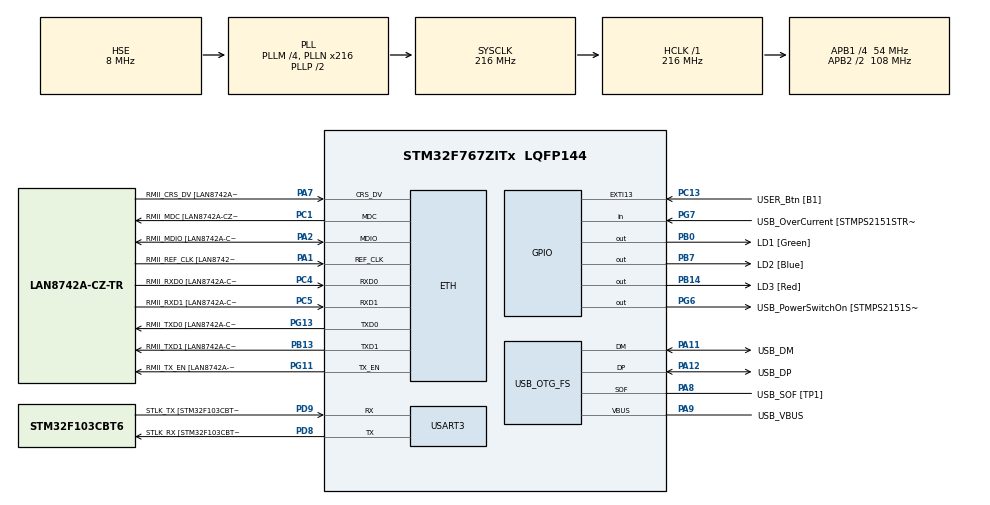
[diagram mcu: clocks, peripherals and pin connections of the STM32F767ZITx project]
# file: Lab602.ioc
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ETH.MediaInterface=HAL_ETH_RMII_MODE
ETH.PHY_Name=LAN8742A_PHY_ADDRESS
ETH.PHY_Value=0
ETH.PhyAddress=0
Mcu.Family=STM32F7
Mcu.Name=STM32F767ZITx
Mcu.Package=LQFP144
NVIC.PriorityGroup=NVIC_PRIORITYGROUP_4
NVIC.TIM1_UP_TIM10_IRQn=true\:1\:0\:true\:false\:true\:true\:true\:true
NVIC.TIM2_IRQn=true\:2\:0\:true\:false\:true\:true\:true\:true
PA1.GPIO_Label=RMII_REF_CLK [LAN8742A-CZ-TR_REFCLK0]
PA1.Mode=RMII
PA1.Signal=ETH_REF_CLK
PA10.GPIO_Label=USB_ID
PA10.Signal=USB_OTG_FS_ID
PA11.GPIO_Label=USB_DM
PA11.Mode=Device_Only
PA11.Signal=USB_OTG_FS_DM
PA12.GPIO_Label=USB_DP
PA12.Mode=Device_Only
PA12.Signal=USB_OTG_FS_DP
PA13.GPIO_Label=TMS
PA13.Mode=Serial_Wire
PA13.Signal=SYS_JTMS-SWDIO
PA14.GPIO_Label=TCK
PA14.Mode=Serial_Wire
PA14.Signal=SYS_JTCK-SWCLK
PA2.GPIO_Label=RMII_MDIO [LAN8742A-CZ-TR_MDIO]
PA2.Mode=RMII
PA2.Signal=ETH_MDIO
PA7.GPIO_Label=RMII_CRS_DV [LAN8742A-CZ-TR_CRS_DV]
PA7.Mode=RMII
PA7.Signal=ETH_CRS_DV
PA8.GPIO_Label=USB_SOF [TP1]
PA8.Mode=Activate_SOF_FS
PA8.Signal=USB_OTG_FS_SOF
PA9.GPIO_Label=USB_VBUS
PA9.Mode=Activate_VBUS
PA9.Signal=USB_OTG_FS_VBUS
PB0.GPIO_Label=LD1 [Green]
PB0.Signal=GPIO_Output
PB13.GPIO_Label=RMII_TXD1 [LAN8742A-CZ-TR_TXD1]
PB13.Mode=RMII
PB13.Signal=ETH_TXD1
PB14.GPIO_Label=LD3 [Red]
PB14.Signal=GPIO_Output
PB3.GPIO_Label=SWO
PB3.Signal=SYS_JTDO-SWO
PB7.GPIO_Label=LD2 [Blue]
PB7.Signal=GPIO_Output
PC1.GPIO_Label=RMII_MDC [LAN8742A-CZ-TR_MDC]
PC1.Mode=RMII
PC1.Signal=ETH_MDC
PC13.GPIO_Label=USER_Btn [B1]
PC13.Signal=GPXTI13
PC14/OSC32_IN.Mode=LSE-External-Oscillator
PC14/OSC32_IN.Signal=RCC_OSC32_IN
PC15/OSC32_OUT.Mode=LSE-External-Oscillator
PC15/OSC32_OUT.Signal=RCC_OSC32_OUT
PC4.GPIO_Label=RMII_RXD0 [LAN8742A-CZ-TR_RXD0]
PC4.Mode=RMII
PC4.Signal=ETH_RXD0
PC5.GPIO_Label=RMII_RXD1 [LAN8742A-CZ-TR_RXD1]
PC5.Mode=RMII
PC5.Signal=ETH_RXD1
PD8.GPIO_Label=STLK_RX [STM32F103CBT6_PA3]
PD8.Mode=Asynchronous
PD8.Signal=USART3_TX
PD9.GPIO_Label=STLK_TX [STM32F103CBT6_PA2]
PD9.Mode=Asynchronous
PD9.Signal=USART3_RX
PG11.GPIO_Label=RMII_TX_EN [LAN8742A-CZ-TR_TXEN]
PG11.Mode=RMII
PG11.Signal=ETH_TX_EN
PG13.GPIO_Label=RMII_TXD0 [LAN8742A-CZ-TR_TXD0]
PG13.Mode=RMII
PG13.Signal=ETH_TXD0
PG6.GPIO_Label=USB_PowerSwitchOn [STMPS2151STR_EN]
PG6.Signal=GPIO_Output
PG7.GPIO_Label=USB_OverCurrent [STMPS2151STR_FAULT]
PG7.Signal=GPIO_Input
PH0/OSC_IN.GPIO_Label=MCO [STM32F103CBT6_PA8]
PH0/OSC_IN.Mode=HSE-External-Clock-Source
PH0/OSC_IN.Signal=RCC_OSC_IN
PH1/OSC_OUT.Mode=HSE-External-Clock-Source
PH1/OSC_OUT.Signal=RCC_OSC_OUT
ProjectManager.HeapSize=0x200
ProjectManager.StackSize=0x400
ProjectManager.TargetToolchain=STM32CubeIDE
RCC.48MHZClocksFreq_Value=24000000
RCC.AHBFreq_Value=216000000
RCC.APB1CLKDivider=RCC_HCLK_DIV4
RCC.APB1Freq_Value=54000000
RCC.APB1TimFreq_Value=108000000
RCC.APB2CLKDivider=RCC_HCLK_DIV2
RCC.APB2Freq_Value=108000000
RCC.APB2TimFreq_Value=216000000
RCC.CortexFreq_Value=216000000
RCC.HCLKFreq_Value=216000000
RCC.HSE_VALUE=8000000
RCC.HSI_VALUE=16000000
RCC.PLLM=4
RCC.PLLMUL=RCC_PLL_MUL9
RCC.PLLN=216
RCC.PLLQ=9
RCC.PRESCALERUSB=RCC_USBCLKSOURCE_PLL_DIV1_5
RCC.SYSCLKFreq_VALUE=216000000
RCC.SYSCLKSource=RCC_SYSCLKSOURCE_PLLCLK
RCC.SYSCLKSourceVirtual=RCC_SYSCLKSOURCE_PLLCLK
RCC.USBFreq_Value=48000000
RCC.VCOOutputFreq_Value=432000000
TIM1.Period=1000-1
TIM1.Prescaler=216-1
TIM2.Period=10000-1
TIM2.Prescaler=4320-1
USART3.VirtualMode-Asynchronous=VM_ASYNC
USB_OTG_FS.VirtualMode=Device_Only
VP_TIM1_VS_ClockSourceINT.Mode=Internal
VP_TIM2_VS_ClockSourceINT.Mode=Internal
board=NUCLEO-F767ZI

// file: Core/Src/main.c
/* USER CODE BEGIN Header */
/**
  ******************************************************************************
  * @file           : main.c
  * @brief          : Main program body
  ******************************************************************************
  * @attention
  *
  * Copyright (c) 2023 STMicroelectronics.
  * All rights reserved.
  *
  * This software is licensed under terms that can be found in the LICENSE file
  * in the root directory of this software component.
  * If no LICENSE file comes with this software, it is provided AS-IS.
  *
  ******************************************************************************
  */
/* USER CODE END Header */
#include "main.h"
#include "eth.h"
#include "tim.h"
#include "usart.h"
#include "usb_otg.h"
#include "gpio.h"

/* USER CODE BEGIN PV */
uint32_t count;
uint32_t count2;
uint8_t min=0 ,sec=0;
/* USER CODE END PV */

void SystemClock_Config(void);

int main(void)
{

  /* MCU Configuration--------------------------------------------------------*/

  /* Reset of all peripherals, Initializes the Flash interface and the Systick. */
  HAL_Init();

  /* Configure the system clock */
  SystemClock_Config();

  /* Initialize all configured peripherals */
  MX_GPIO_Init();
  MX_ETH_Init();
  MX_USART3_UART_Init();
  MX_USB_OTG_FS_PCD_Init();
  MX_TIM1_Init();
  MX_TIM2_Init();
  /* USER CODE BEGIN 2 */
  HAL_TIM_Base_Start_IT(&htim1);
  HAL_TIM_Base_Start_IT(&htim2);
  /* USER CODE END 2 */

  /* Infinite loop */
  while (1)
  {

    /* USER CODE BEGIN 3 */
	  sec=count/1000;
	  if( sec>59){
		  min++;
		  sec=0;
		  count=0;
		  if(min>59){
			  min=0;
		  }
	  }if(count2==1){
		  displayclock(min,sec);
		  count2=0;
	  }
  }
  /* USER CODE END 3 */
}

void SystemClock_Config(void)
{
  RCC_OscInitTypeDef RCC_OscInitStruct = {0};
  RCC_ClkInitTypeDef RCC_ClkInitStruct = {0};

  /** Configure LSE Drive Capability
  */
  HAL_PWR_EnableBkUpAccess();

  /** Configure the main internal regulator output voltage
  */
  __HAL_RCC_PWR_CLK_ENABLE();
  __HAL_PWR_VOLTAGESCALING_CONFIG(PWR_REGULATOR_VOLTAGE_SCALE1);

  /** Initializes the RCC Oscillators according to the specified parameters
  * in the RCC_OscInitTypeDef structure.
  */
  RCC_OscInitStruct.OscillatorType = RCC_OSCILLATORTYPE_HSE;
  RCC_OscInitStruct.HSEState = RCC_HSE_BYPASS;
  RCC_OscInitStruct.PLL.PLLState = RCC_PLL_ON;
  RCC_OscInitStruct.PLL.PLLSource = RCC_PLLSOURCE_HSE;
  RCC_OscInitStruct.PLL.PLLM = 4;
  RCC_OscInitStruct.PLL.PLLN = 216;
  RCC_OscInitStruct.PLL.PLLP = RCC_PLLP_DIV2;
  RCC_OscInitStruct.PLL.PLLQ = 9;
  RCC_OscInitStruct.PLL.PLLR = 2;
  if (HAL_RCC_OscConfig(&RCC_OscInitStruct) != HAL_OK)
  {
    Error_Handler();
  }

  /** Activate the Over-Drive mode
  */
  if (HAL_PWREx_EnableOverDrive() != HAL_OK)
  {
    Error_Handler();
  }

  /** Initializes the CPU, AHB and APB buses clocks
  */
  RCC_ClkInitStruct.ClockType = RCC_CLOCKTYPE_HCLK|RCC_CLOCKTYPE_SYSCLK
                              |RCC_CLOCKTYPE_PCLK1|RCC_CLOCKTYPE_PCLK2;
  RCC_ClkInitStruct.SYSCLKSource = RCC_SYSCLKSOURCE_PLLCLK;
  RCC_ClkInitStruct.AHBCLKDivider = RCC_SYSCLK_DIV1;
  RCC_ClkInitStruct.APB1CLKDivider = RCC_HCLK_DIV4;
  RCC_ClkInitStruct.APB2CLKDivider = RCC_HCLK_DIV2;

  if (HAL_RCC_ClockConfig(&RCC_ClkInitStruct, FLASH_LATENCY_7) != HAL_OK)
  {
    Error_Handler();
  }
}

/* USER CODE BEGIN 4 */
displayclock(uint32_t mindis,uint32_t secdis){
	char hexString[30];

	sprintf(hexString,"%02d:%02d\r", mindis, secdis);
	HAL_UART_Transmit(&huart3, (uint8_t*) hexString, strlen(hexString), 1000);

}
/* USER CODE END 4 */

void Error_Handler(void)
{
  __disable_irq();
  while (1)
  {
  }
}
